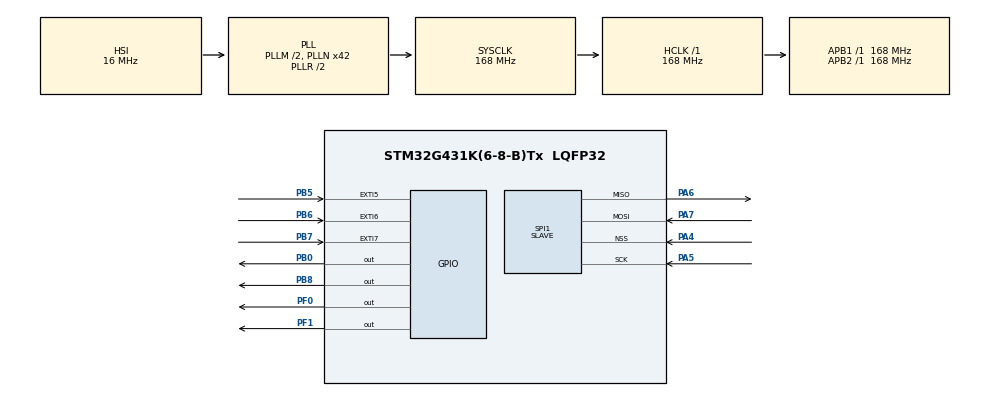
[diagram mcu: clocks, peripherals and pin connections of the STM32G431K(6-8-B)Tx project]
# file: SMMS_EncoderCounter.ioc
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Mcu.Family=STM32G4
Mcu.Name=STM32G431K(6-8-B)Tx
Mcu.Package=LQFP32
NVIC.EXTI9_5_IRQn=true\:0\:0\:false\:false\:true\:true\:true
NVIC.PriorityGroup=NVIC_PRIORITYGROUP_4
NVIC.SPI1_IRQn=true\:0\:0\:false\:false\:true\:true\:true
NVIC.TIM3_IRQn=true\:0\:0\:false\:false\:true\:true\:true
PA13.Mode=Trace_Asynchronous_SW
PA13.Signal=SYS_JTMS-SWDIO
PA14.Mode=Trace_Asynchronous_SW
PA14.Signal=SYS_JTCK-SWCLK
PA4.Mode=NSS_Signal_Hard_Input
PA4.Signal=SPI1_NSS
PA5.Mode=Full_Duplex_Slave
PA5.Signal=SPI1_SCK
PA6.Mode=Full_Duplex_Slave
PA6.Signal=SPI1_MISO
PA7.Mode=Full_Duplex_Slave
PA7.Signal=SPI1_MOSI
PB0.Signal=GPIO_Output
PB3.Mode=Trace_Asynchronous_SW
PB3.Signal=SYS_JTDO-SWO
PB5.Signal=GPXTI5
PB6.Signal=GPXTI6
PB7.GPIO_PuPd=GPIO_PULLUP
PB7.Signal=GPXTI7
PB8-BOOT0.Signal=GPIO_Output
PF0-OSC_IN.Signal=GPIO_Output
PF1-OSC_OUT.Signal=GPIO_Output
ProjectManager.HeapSize=0x200
ProjectManager.StackSize=0x400
ProjectManager.TargetToolchain=MDK-ARM V5.27
RCC.ADC12Freq_Value=168000000
RCC.AHBFreq_Value=168000000
RCC.APB1Freq_Value=168000000
RCC.APB1TimFreq_Value=168000000
RCC.APB2Freq_Value=168000000
RCC.APB2TimFreq_Value=168000000
RCC.CK48CLockSelection=RCC_USBCLKSOURCE_HSI48
RCC.CortexFreq_Value=168000000
RCC.EXTERNAL_CLOCK_VALUE=12288000
RCC.HCLKFreq_Value=168000000
RCC.HSE_VALUE=8000000
RCC.HSI48_VALUE=48000000
RCC.HSI_VALUE=16000000
RCC.LSE_VALUE=32768
RCC.PLLM=RCC_PLLM_DIV2
RCC.PLLN=42
RCC.SYSCLKFreq_VALUE=168000000
RCC.SYSCLKSource=RCC_SYSCLKSOURCE_PLLCLK
RCC.USBFreq_Value=48000000
RCC.VCOOutputFreq_Value=336000000
SPI1.DataSize=SPI_DATASIZE_8BIT
SPI1.Direction=SPI_DIRECTION_2LINES
SPI1.Mode=SPI_MODE_SLAVE
SPI1.VirtualNSS=VM_NSSHARD
SPI1.VirtualType=VM_SLAVE
TIM3.AutoReloadPreload=TIM_AUTORELOAD_PRELOAD_DISABLE
TIM3.PeriodNoDither=44
TIM3.Prescaler=16799
TIM3.TIM_MasterOutputTrigger=TIM_TRGO_UPDATE
VP_SYS_VS_DBSignals.Mode=DisableDeadBatterySignals
VP_TIM3_VS_ClockSourceINT.Mode=Internal
board=custom

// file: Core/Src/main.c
/* USER CODE BEGIN Header */
/**
 ******************************************************************************
 * @file           : main.c
 * @brief          : Main program body
 ******************************************************************************
 * @attention
 *
 * <h2><center>&copy; Copyright (c) 2020 STMicroelectronics.
 * All rights reserved.</center></h2>
 *
 * This software component is licensed by ST under BSD 3-Clause license,
 * the "License"; You may not use this file except in compliance with the
 * License. You may obtain a copy of the License at:
 *                        opensource.org/licenses/BSD-3-Clause
 *
 ******************************************************************************
 */
/* USER CODE END Header */

#include "main.h"
#include "spi.h"
#include "tim.h"
#include "gpio.h"

/* USER CODE BEGIN Includes */
#include <stdio.h>
#include <stdbool.h>
#include <string.h>
#include <stdlib.h>
/* USER CODE END Includes */

/* USER CODE BEGIN PTD */
typedef struct _paramType {
	float wheelRadius; // 1
	uint32_t encoderPulseCount; // 2
	float targetDistance; // 3
} __attribute__((aligned(1), packed)) WheelParam;
WheelParam wP;
/* USER CODE END PTD */

/* USER CODE BEGIN PD */
//Setting var at page 63
#define BACKUP_FLASH_ADDR 0x0801F800

#define TARGET_PULSE_NUMBER           1

#define DIVISOR                       1

/* USER CODE END PD */

/* USER CODE BEGIN PV */
// SPI_HandleTypeDef hspi1;
int A_PLS_CNT = 0;
int B_PLS_CNT = 0;

bool bFlag = false;
uint8_t saveFlag = 0; // Data select

int goFlag = 0;
char spirxbuf[20] = { 0 };
int encoderTargetCount = -1;
/* USER CODE END PV */

void SystemClock_Config(void);

/* USER CODE BEGIN 0 */

void HAL_SPI_RxCpltCallback(SPI_HandleTypeDef *hspi) {
	if (hspi->Instance == hspi1.Instance) {
		HAL_SPI_Receive_IT(&hspi1, (uint8_t*) &wP, sizeof(wP));
		goFlag = 1;
	}
}

void HAL_GPIO_EXTI_Callback(uint16_t GPIO_Pin) {
	switch (GPIO_Pin) {
	case GPIO_PIN_5:
		HAL_GPIO_TogglePin(GPIOF, GPIO_PIN_0);
		//if (bFlag) {
			A_PLS_CNT++;
		//}
		break;
	case GPIO_PIN_6:
		HAL_GPIO_TogglePin(GPIOF, GPIO_PIN_1);
		//if (bFlag) {
			B_PLS_CNT++;
		//}
		break;
	case GPIO_PIN_7:
		HAL_GPIO_TogglePin(GPIOB, GPIO_PIN_8);
		//HAL_GPIO_WritePin(GPIOB,GPIO_PIN_0,SET);
		//bFlag = true;
		break;
	}
	//HAL_GPIO_WritePin(GPIOB,GPIO_PIN_0,RESET);
}

float diameter(float radius) {
	return (2 * 3.1415 * radius);
}

float rotationForShoot(float targetDistance, float wheelDiameter) {
	return (targetDistance / wheelDiameter);
}

int targetPulseCount(float rotationCount, int encoderPulseCnt) {
	return (int) ((((rotationCount * encoderPulseCnt) / TARGET_PULSE_NUMBER)
			/ DIVISOR));
}

void SaveWheelParam(WheelParam *wP) {
	HAL_FLASH_Unlock();
	{
		FLASH_EraseInitTypeDef fler;
		uint32_t perr;
		fler.TypeErase = FLASH_TYPEERASE_PAGES;
		fler.Banks = 1;
		fler.Page = 63;
		fler.NbPages = 1;
		HAL_FLASHEx_Erase(&fler, &perr);
		register uint64_t *_targetAddr = (uint64_t*) (wP);
		for (uint8_t i = 0; i <= (sizeof(WheelParam) * 2); i +=
				sizeof(uint64_t)) {
			HAL_FLASH_Program(FLASH_TYPEPROGRAM_DOUBLEWORD,
			BACKUP_FLASH_ADDR + i, _targetAddr[i / sizeof(uint64_t)]);
		}
	}
	HAL_FLASH_Lock();
}

/* USER CODE END 0 */

int main(void)
{
  /* USER CODE BEGIN 1 */
	memcpy(&wP, (void*) (BACKUP_FLASH_ADDR), sizeof(WheelParam));
	//2nd, compare memory
	/*if (wP.encoderPulseCount == 0xFFFFFFFF)
	 {
	 //if flash not initialized, set value to default
	 wP.encoderPulseCount = 2000;
	 wP.targetDistance = 5.0;
	 wP.wheelRadius = 0.324;
	 SaveWheelParam(&wP);
	 }*/
	//int encoderTargetCount = -1;
  /* USER CODE END 1 */

  /* MCU Configuration--------------------------------------------------------*/

  /* Reset of all peripherals, Initializes the Flash interface and the Systick. */
  HAL_Init();

  /* Configure the system clock */
  SystemClock_Config();

  /* Initialize all configured peripherals */
  MX_GPIO_Init();
  MX_TIM3_Init();
  MX_SPI1_Init();
  /* USER CODE BEGIN 2 */
	LL_TIM_EnableIT_UPDATE(TIM3);

	HAL_SPI_Receive_IT(&hspi1, (uint8_t*) &wP, sizeof(wP));

  /* USER CODE END 2 */

  /* Infinite loop */
  /* USER CODE BEGIN WHILE */
	HAL_Delay(100);
	encoderTargetCount = targetPulseCount(
			rotationForShoot(wP.targetDistance, diameter(wP.wheelRadius)),
			wP.encoderPulseCount);

	while (1) {
		//HAL_SPI_Receive(&hspi1, (uint8_t*) &wP, sizeof(wP), 1000);
		HAL_SPI_Receive_IT(&hspi1, (uint8_t*) &wP, sizeof(wP));

		if (goFlag == 1) {
			// R
			HAL_SPI_Receive(&hspi1, (uint8_t*) &wP.wheelRadius,
					sizeof(wP.wheelRadius), 1000);
			//wP.wheelRadius = atof(&wP.wheelRadius);

			// E
			HAL_SPI_Receive(&hspi1, (uint8_t*) &wP.encoderPulseCount,
					sizeof(wP.encoderPulseCount), 1000);
			//wP.encoderPulseCount = atoi(&wP.encoderPulseCount);

			// T
			HAL_SPI_Receive(&hspi1, (uint8_t*) &wP.targetDistance,
					sizeof(wP.targetDistance), 1000);
			//wP.targetDistance = atof(&wP.targetDistance);

			encoderTargetCount = targetPulseCount(
					rotationForShoot(wP.targetDistance,
							diameter(wP.wheelRadius)), wP.encoderPulseCount);
			goFlag = 0;
			SaveWheelParam(&wP);
		}

    /* USER CODE END WHILE */

    /* USER CODE BEGIN 3 */
		if (A_PLS_CNT >= encoderTargetCount) {
			A_PLS_CNT = 0;
			B_PLS_CNT = 0;
			HAL_GPIO_WritePin(GPIOB, GPIO_PIN_0, SET); // Main Interrupt
			LL_TIM_ClearFlag_UPDATE(TIM3);
			LL_TIM_EnableCounter(TIM3);
			char __buf = 0xEE;
		}
	}
  /* USER CODE END 3 */
}

void SystemClock_Config(void)
{
  RCC_OscInitTypeDef RCC_OscInitStruct = {0};
  RCC_ClkInitTypeDef RCC_ClkInitStruct = {0};

  /** Configure the main internal regulator output voltage
  */
  HAL_PWREx_ControlVoltageScaling(PWR_REGULATOR_VOLTAGE_SCALE1_BOOST);
  /** Initializes the CPU, AHB and APB busses clocks
  */
  RCC_OscInitStruct.OscillatorType = RCC_OSCILLATORTYPE_HSI;
  RCC_OscInitStruct.HSIState = RCC_HSI_ON;
  RCC_OscInitStruct.HSICalibrationValue = RCC_HSICALIBRATION_DEFAULT;
  RCC_OscInitStruct.PLL.PLLState = RCC_PLL_ON;
  RCC_OscInitStruct.PLL.PLLSource = RCC_PLLSOURCE_HSI;
  RCC_OscInitStruct.PLL.PLLM = RCC_PLLM_DIV2;
  RCC_OscInitStruct.PLL.PLLN = 42;
  RCC_OscInitStruct.PLL.PLLP = RCC_PLLP_DIV2;
  RCC_OscInitStruct.PLL.PLLQ = RCC_PLLQ_DIV2;
  RCC_OscInitStruct.PLL.PLLR = RCC_PLLR_DIV2;
  if (HAL_RCC_OscConfig(&RCC_OscInitStruct) != HAL_OK)
  {
    Error_Handler();
  }
  /** Initializes the CPU, AHB and APB busses clocks
  */
  RCC_ClkInitStruct.ClockType = RCC_CLOCKTYPE_HCLK|RCC_CLOCKTYPE_SYSCLK
                              |RCC_CLOCKTYPE_PCLK1|RCC_CLOCKTYPE_PCLK2;
  RCC_ClkInitStruct.SYSCLKSource = RCC_SYSCLKSOURCE_PLLCLK;
  RCC_ClkInitStruct.AHBCLKDivider = RCC_SYSCLK_DIV1;
  RCC_ClkInitStruct.APB1CLKDivider = RCC_HCLK_DIV1;
  RCC_ClkInitStruct.APB2CLKDivider = RCC_HCLK_DIV1;

  if (HAL_RCC_ClockConfig(&RCC_ClkInitStruct, FLASH_LATENCY_8) != HAL_OK)
  {
    Error_Handler();
  }
}

void Error_Handler(void)
{
}

/************************ (C) COPYRIGHT STMicroelectronics *****END OF FILE****/
